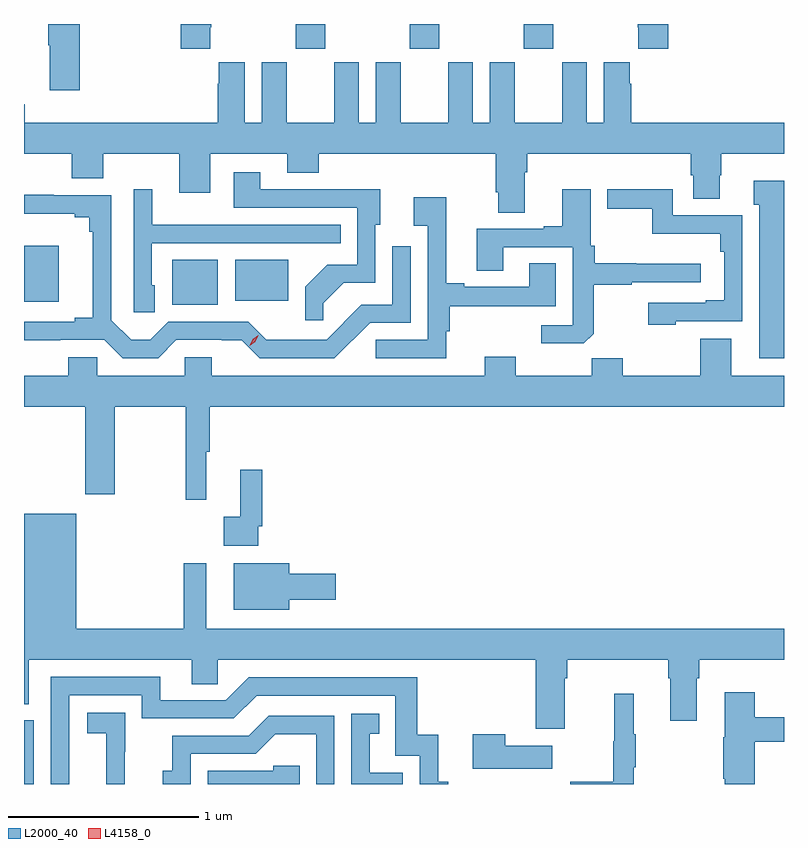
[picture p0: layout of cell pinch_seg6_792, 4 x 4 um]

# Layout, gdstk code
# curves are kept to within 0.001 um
import gdstk
lib = gdstk.Library(unit=1e-6, precision=1e-09)
def R(c, l, rs):  # rectangles x0, y0, x1, y1
    for r in rs: c.add(gdstk.rectangle(r[:2], r[2:], *l))
def A(c, l, x, y, w, h, nx, ny, dx, dy):  # array of equal rectangles
    R(c, l, [(x+i*dx, y+j*dy, x+i*dx+w, y+j*dy+h) for i in range(nx) for j in range(ny)])
def P(c, l, *ps):  # polygons
    for p in ps: c.add(gdstk.Polygon(p, *l))
L2000_40 = (2000, 40)
L4158_0 = (4158, 0)

pinch_seg6_792 = lib.new_cell('pinch_seg6_792')
A(pinch_seg6_792, L2000_40, 192.163, 958.545, 0.155, 0.13, 3, 1, 0.6, 0)
R(pinch_seg6_792, L2000_40, [(190.733,954.675,190.785,955.011), (191.513,957.197,191.752,957.433), (190.733,957.212,190.915,957.508), (191.846,957.218,192.124,957.433)])
P(pinch_seg6_792, L2000_40, [(191.027,958.675),(190.861,958.675),(190.861,958.564),(190.868,958.564),(190.868,958.326),(191.027,958.326)],
  [(191.713,958.657),(191.718,958.657),(191.718,958.675),(191.558,958.675),(191.558,958.545),(191.713,958.545)],
  [(194.123,958.675),(193.963,958.675),(193.963,958.657),(193.967,958.657),(193.967,958.545),(194.123,958.545)],
  [(193.369,957.896),(193.382,957.896),(193.382,957.992),(194.243,957.992),(194.243,957.879),(194.255,957.879),(194.255,957.754),(194.395,957.754),(194.395,957.879),(194.403,957.879),(194.403,957.992),(194.733,957.992),(194.733,958.156),(193.928,958.156),(193.928,958.361),(193.921,958.361),(193.921,958.474),(193.784,958.474),(193.784,958.156),(193.696,958.156),(193.696,958.474),(193.565,958.474),(193.565,958.156),(193.315,958.156),(193.315,958.474),(193.184,958.474),(193.184,958.156),(193.096,958.156),(193.096,958.474),(192.965,958.474),(192.965,958.156),(192.715,958.156),(192.715,958.474),(192.584,958.474),(192.584,958.156),(192.496,958.156),(192.496,958.474),(192.365,958.474),(192.365,958.156),(192.115,958.156),(192.115,958.474),(191.984,958.474),(191.984,958.156),(191.896,958.156),(191.896,958.474),(191.759,958.474),(191.759,958.361),(191.753,958.361),(191.753,958.156),(190.736,958.156),(190.736,958.252),(190.733,958.252),(190.733,957.992),(190.985,957.992),(190.985,957.864),(191.149,957.864),(191.149,957.992),(191.549,957.992),(191.549,957.786),(191.713,957.786),(191.713,957.992),(192.119,957.992),(192.119,957.893),(192.283,957.893),(192.283,957.992),(193.217,957.992),(193.217,957.79),(193.229,957.79),(193.229,957.682),(193.369,957.682)],
  [(192.308,957.204),(192.416,957.312),(192.582,957.312),(192.582,957.618),(192.607,957.618),(192.607,957.806),(192.389,957.806),(192.389,957.804),(191.977,957.804),(191.977,957.895),(191.837,957.895),(191.837,957.708),(192.486,957.708),(192.486,957.408),(192.329,957.408),(192.213,957.292),(192.213,957.117),(192.308,957.117)],
  [(194.733,957.85),(194.573,957.85),(194.573,957.725),(194.603,957.725),(194.603,956.915),(194.733,956.915)],
  [(194.163,957.111),(194.514,957.111),(194.514,957.669),(194.148,957.669),(194.148,957.806),(193.803,957.806),(193.803,957.703),(194.04,957.703),(194.04,957.572),(194.398,957.572),(194.398,957.476),(194.418,957.476),(194.418,957.22),(194.321,957.22),(194.321,957.207),(194.019,957.207),(194.019,957.092),(194.163,957.092)],
  [(193.731,957.045),(193.731,957.303),(193.931,957.303),(193.931,957.315),(194.296,957.315),(194.296,957.412),(193.955,957.412),(193.955,957.416),(193.736,957.416),(193.736,957.508),(193.716,957.508),(193.716,957.805),(193.565,957.805),(193.565,957.61),(193.469,957.61),(193.469,957.597),(193.115,957.597),(193.115,957.376),(193.255,957.376),(193.255,957.501),(193.62,957.501),(193.62,957.09),(193.455,957.09),(193.455,956.994),(193.679,956.994)],
  [(191.422,957.3),(191.406,957.3),(191.406,957.522),(192.401,957.522),(192.401,957.618),(191.741,957.618),(191.741,957.619),(191.407,957.619),(191.407,957.805),(191.31,957.805),(191.31,957.157),(191.422,957.157)],
  [(191.535,957.012),(191.879,957.011),(191.973,956.916),(192.367,956.916),(192.555,957.102),(192.768,957.102),(192.768,957.505),(192.672,957.505),(192.672,957.198),(192.509,957.198),(192.415,957.104),(192.417,957.102),(192.327,957.012),(192.112,957.012),(192.112,957.014),(192.008,957.014),(191.913,957.108),(191.493,957.108),(191.398,957.013),(191.297,957.013),(191.193,957.117),(191.193,957.774),(190.889,957.774),(190.889,957.776),(190.733,957.776),(190.733,957.677),(191,957.677),(191,957.658),(191.077,957.658),(191.077,957.581),(191.096,957.581),(191.096,957.128),(191,957.128),(191,957.108),(190.733,957.108),(190.733,957.011),(191.156,957.012),(191.252,956.916),(191.439,956.916)],
  [(192.956,957.059),(192.974,957.059),(192.974,957.19),(193.531,957.19),(193.531,957.416),(193.391,957.416),(193.391,957.291),(193.051,957.291),(193.051,957.311),(192.955,957.311),(192.955,957.763),(192.783,957.763),(192.783,957.614),(192.858,957.614),(192.858,957.012),(192.585,957.012),(192.585,956.916),(192.956,956.916)],
  [(191.693,956.424),(191.711,956.424),(191.711,956.66),(194.733,956.66),(194.733,956.824),(194.455,956.824),(194.455,957.019),(194.291,957.019),(194.291,956.824),(193.885,956.824),(193.885,956.917),(193.721,956.917),(193.721,956.824),(193.321,956.824),(193.321,956.923),(193.157,956.923),(193.157,956.824),(191.722,956.824),(191.722,956.922),(191.58,956.922),(191.58,956.824),(191.118,956.824),(191.118,956.922),(190.967,956.922),(190.967,956.824),(190.733,956.824),(190.733,956.66),(191.056,956.66),(191.056,956.199),(191.211,956.199),(191.211,956.66),(191.583,956.66),(191.583,956.172),(191.693,956.172)],
  [(191.967,956.032),(191.987,956.032),(191.987,956.329),(191.87,956.329),(191.87,956.081),(191.784,956.081),(191.784,955.928),(191.967,955.928)],
  [(192.13,955.646),(192.373,955.646),(192.373,955.781),(192.13,955.781),(192.13,955.837),(191.837,955.837),(191.837,955.592),(192.13,955.592)],
  [(191.692,955.837),(191.575,955.837),(191.575,955.492),(191.008,955.492),(191.008,956.098),(190.733,956.098),(190.733,955.096),(190.759,955.096),(190.759,955.328),(191.615,955.328),(191.615,955.201),(191.754,955.201),(191.754,955.328),(193.427,955.328),(193.427,954.966),(193.579,954.966),(193.579,955.232),(193.592,955.232),(193.592,955.328),(194.123,955.328),(194.123,955.232),(194.135,955.232),(194.135,955.008),(194.275,955.008),(194.275,955.232),(194.288,955.232),(194.288,955.328),(194.733,955.328),(194.733,955.492),(191.692,955.492)],
  [(190.971,955.143),(191.352,955.143),(191.352,955.02),(191.838,955.02),(191.958,955.14),(192.687,955.14),(192.687,954.825),(192.816,954.825),(192.816,954.675),(192.967,954.675),(192.967,954.687),(192.914,954.687),(192.914,954.934),(192.803,954.934),(192.803,955.236),(191.916,955.236),(191.796,955.116),(191.449,955.116),(191.449,955.239),(190.875,955.239),(190.875,954.675),(190.971,954.675)],
  [(194.579,954.898),(194.733,954.898),(194.733,955.027),(194.579,955.027),(194.579,955.159),(194.42,955.159),(194.42,954.921),(194.413,954.921),(194.413,954.703),(194.42,954.703),(194.42,954.675),(194.579,954.675)],
  [(193.943,954.763),(193.954,954.763),(193.954,954.937),(193.943,954.937),(193.943,955.15),(193.84,955.15),(193.84,954.9),(193.833,954.9),(193.833,954.686),(193.609,954.686),(193.609,954.675),(193.943,954.675)],
  [(191.264,954.845),(191.265,954.845),(191.265,955.051),(191.067,955.051),(191.067,954.941),(191.165,954.941),(191.165,954.713),(191.166,954.713),(191.166,954.675),(191.264,954.675)],
  [(192.726,954.735),(192.553,954.735),(192.553,954.939),(192.602,954.939),(192.602,955.045),(192.456,955.045),(192.456,954.675),(192.726,954.675)],
  [(191.61,954.834),(191.952,954.834),(192.056,954.938),(192.27,954.938),(192.27,954.675),(192.366,954.675),(192.366,955.035),(192.02,955.035),(191.915,954.93),(191.512,954.93),(191.512,954.745),(191.463,954.745),(191.463,954.675),(191.61,954.675)],
  [(193.513,954.877),(193.265,954.877),(193.265,954.937),(193.094,954.937),(193.094,954.755),(193.513,954.755)],
  [(192.185,954.771),(192.045,954.771),(192.045,954.744),(191.7,954.744),(191.7,954.675),(192.185,954.675)])
P(pinch_seg6_792, L4158_0, [(191.92,956.982),(191.92,956.983),(191.936,957.016),(191.967,957.038),(191.967,957.038),(191.967,957.037),(191.951,957.003),(191.921,956.982)])

lib.write_gds('pinch_seg6_792.gds')
